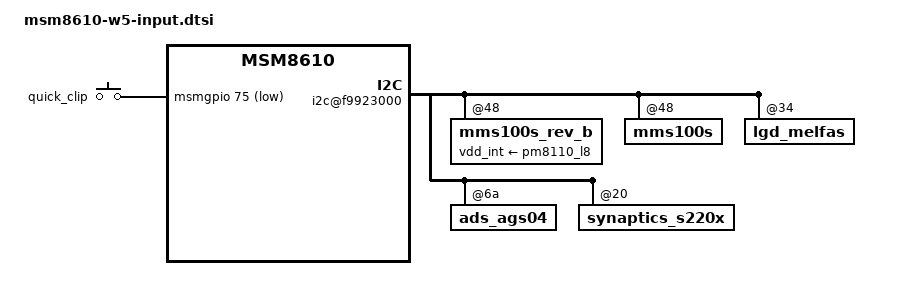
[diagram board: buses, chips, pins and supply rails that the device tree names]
/* Copyright (c) 2012, Code Aurora Forum. All rights reserved.
 *
 * This program is free software; you can redistribute it and/or modify
 * it under the terms of the GNU General Public License version 2 and
 * only version 2 as published by the Free Software Foundation.
 *
 * This program is distributed in the hope that it will be useful,
 * but WITHOUT ANY WARRANTY; without even the implied warranty of
 * MERCHANTABILITY or FITNESS FOR A PARTICULAR PURPOSE.  See the
 * GNU General Public License for more details.
 */

&soc {
	gpio_keys{
		quick_clip{
			label = "quick_clip";
			gpios = <&msmgpio 75 0x1>;
			linux,input-type = <1>;
			linux,code = <250>;
			gpio-key,wakeup;
			debounce-interval = <15>;
		};
	};
	i2c@f9923000{
		mms100s_rev_b@48 {
			melfas,product = "I2S45B";
			melfas,max-x = <480>;
			melfas,max-y = <800>;
                        melfas,use_vdd_i2c = <1>;
			melfas,gpio-vdd-en = <62>;
			melfas,key-map = <158 139>;
			vdd_int-supply = <&pm8110_l8>;
			melfas,fw-image-name = "melfas/w5_mpcs_us/w5_mpcs_us_rev_b_v101.mfsb";
			status = "ok";
			revision = "rev_b";
		};

		mms100s@48 {
			melfas,product = "I2S45B";
			melfas,max-x = <480>;
			melfas,max-y = <800>;
                        melfas,use_vdd_i2c = <1>;
			melfas,gpio-vdd-en = <82>;
			melfas,key-map = <158 139>;
			melfas,fw-image-name = "melfas/w5_mpcs_us/w5_mpcs_us_rev_b_v101.mfsb";
			status = "ok";
			revision = "rev_c";
		};

		lgd_melfas@34 {
			status = "ok";
			revision = "rev_a";
		};

		ads_ags04@6a {
			status = "ok";
			revision = "rev_a";
		};
		
		synaptics_s220x@20 {
			status = "ok";
			revision = "rev_d...";
			interrupts = <1 0x2>;
			synaptics,platform_data	{
				/*Caps*/
				panel_type = <1>;
				finger_reg_offset=<0>; /*s22002 : 0, s2200 : 1*/
				/* maker_id disable(0), enable(1) */
				maker_id = <1>;
				maker_id_gpio = <76>;
				number_of_button = <2>;
				button_name = [9e 8b];
				x_max = <480>;
				y_max = <800>;
				lcd_x = <480>;
				lcd_y = <800>;
				gpio_vdd_en = <82>;
			};
		};
	};
};
